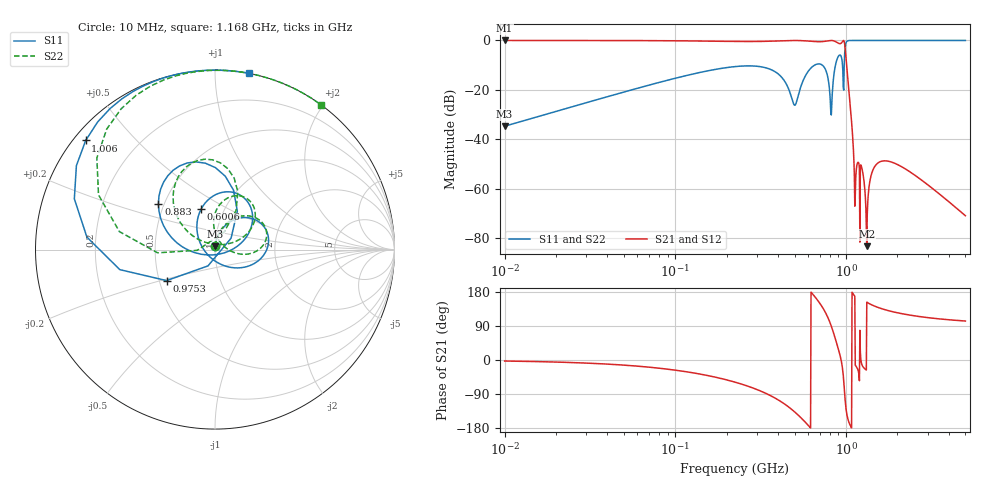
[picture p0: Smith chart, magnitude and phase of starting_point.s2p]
! Created with skrf 1.11.0 (http://scikit-rf.org).
# Hz S RI R 50.0
!freq ReS11 ImS11 ReS21 ImS21 ReS12 ImS12 ReS22 ImS22
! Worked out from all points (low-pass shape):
!   1001 points, 10 MHz to 5 GHz, reference 50 ohm
!   highest |S21| = 0.00 dB at 10 MHz (marker M1); lowest = -83.2 dB at 1.322 GHz (marker M2)
!   |S21| within 3 dB of the highest: start of sweep to 987 MHz
!   lowest |S11| = -34.7 dB at 10 MHz (marker M3), VSWR 1.04, Z = 50.1 + j1.84 ohm
!   |S11| at or under -10 dB: start of sweep to 653.7 MHz; 726.3 MHz to 866.6 MHz (140.3 MHz wide, 17.6 % of centre); 953 MHz to 975.2 MHz (22.28 MHz wide, 2.31 % of centre)
!   |S22| runs from -34.7 to 0.0 dB; largest |S21 - S12| = 5.9e-11
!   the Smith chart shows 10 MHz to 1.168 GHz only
!   S11 on the Smith chart (normalised r, x): 10 MHz: 1.00, +0.04; 600.6 MHz: 0.78, +0.37; 883 MHz: 0.47, +0.28; 975.3 MHz: 0.55, -0.21; 1.006 GHz: 0.03, +0.37; 1.168 GHz: 0.00, +1.21
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1e7  0.000901 0.0184  0.9987 -0.0473  0.9987 -0.0473  0.00084 0.0184
2.823111e7  0.00712 0.0512  0.9898 -0.1329  0.9898 -0.1329  0.00664 0.0513
7.969957e7  0.0532 0.1301  0.9214 -0.3623  0.9214 -0.3623  0.0496 0.1315
2.236068e8  0.259 0.143  0.5001 -0.8138  0.5001 -0.8138  0.2446 0.1665
3.839683e8  0.2202 -0.0766  -0.1773 -0.9562  -0.1773 -0.9562  0.233 -0.00745
4.98485e8  -0.0308 -0.0383  -0.7241 -0.6879  -0.7241 -0.6879  0.0398 0.0288
6.006497e8  -0.0774 0.2256  -0.9631 -0.1249  -0.9631 -0.1249  0.0173 0.2378
6.312669e8  -0.0251 0.2884  -0.9552 0.0622  -0.9552 0.0622  0.0623 0.2827
7.419698e8  0.2069 0.2075  -0.6467 0.7042  -0.6467 0.7042  0.2243 0.1885
8.144619e8  0.0221 -0.0255  -0.0472 0.9983  -0.0472 0.9983  0.0196 0.0275
8.829932e8  -0.3154 0.2553  0.6711 0.6205  0.6711 0.6205  -0.2298 0.3344
9.396088e8  0.00193 0.457  0.8866 -0.071  0.8866 -0.071  0.0708 0.4515
9.75306e8  -0.2698 -0.1727  0.2914 -0.9014  0.2914 -0.9014  -0.3198 -0.0179
1.006087e9  -0.7203 0.6083  -0.2486 -0.2219  -0.2486 -0.2219  -0.5228 0.7847
1.04431e9  -0.3471 0.9346  -0.0756 -0.0178  -0.0756 -0.0178  -0.1049 0.9914
1.111269e9  0.0128 0.9999  -0.00375 0.000558  -0.00375 0.000558  0.2788 0.9603
1.167914e9  0.1892 0.9819  0.00305 -0.00134  0.00305 -0.00134  0.593 0.8052
1.242799e9  0.3459 0.9383  0.00237 -0.000596  0.00237 -0.000596  0.1382 0.9904
1.322484e9  0.4609 0.8875  -6.12e-05 3.15e-05  -6.12e-05 3.15e-05  0.4551 0.8905
1.460743e9  0.5931 0.8051  -0.00214 0.00163  -0.00214 0.00163  0.621 0.7838
1.782137e9  0.754 0.6568  -0.0023 0.00275  -0.0023 0.00275  0.7804 0.6253
5e9  0.9732 0.2299  -6.31e-05 0.000277  -6.31e-05 0.000277  0.9768 0.2143
